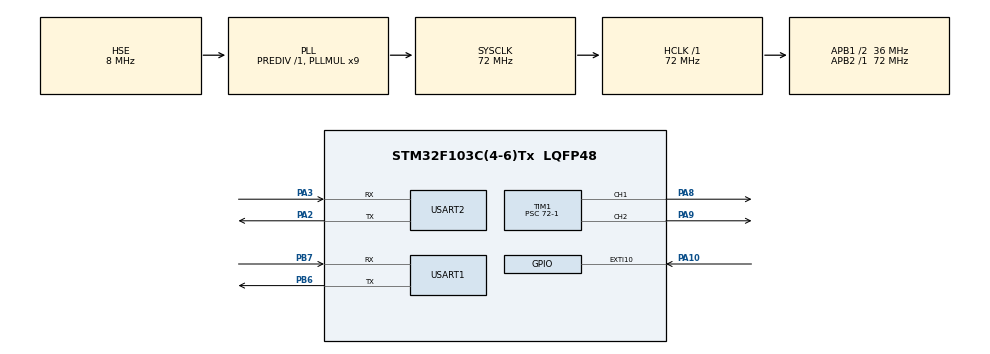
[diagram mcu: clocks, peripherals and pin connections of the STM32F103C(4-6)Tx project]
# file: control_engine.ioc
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Mcu.Family=STM32F1
Mcu.Name=STM32F103C(4-6)Tx
Mcu.Package=LQFP48
NVIC.EXTI15_10_IRQn=true\:0\:0\:false\:false\:true\:true\:true
NVIC.PriorityGroup=NVIC_PRIORITYGROUP_4
NVIC.USART1_IRQn=true\:0\:0\:false\:false\:true\:true\:true
PA10.GPIO_ModeDefaultEXTI=GPIO_MODE_IT_FALLING
PA10.GPIO_PuPd=GPIO_PULLUP
PA10.Signal=GPXTI10
PA2.Mode=Asynchronous
PA2.Signal=USART2_TX
PA3.Mode=Asynchronous
PA3.Signal=USART2_RX
PA8.Signal=S_TIM1_CH1
PA9.Signal=S_TIM1_CH2
PB6.Mode=Asynchronous
PB6.Signal=USART1_TX
PB7.Mode=Asynchronous
PB7.Signal=USART1_RX
PD0-OSC_IN.Mode=HSE-External-Oscillator
PD0-OSC_IN.Signal=RCC_OSC_IN
PD1-OSC_OUT.Mode=HSE-External-Oscillator
PD1-OSC_OUT.Signal=RCC_OSC_OUT
ProjectManager.HeapSize=0x200
ProjectManager.StackSize=0x400
ProjectManager.TargetToolchain=MDK-ARM V5.27
RCC.AHBFreq_Value=72000000
RCC.APB1CLKDivider=RCC_HCLK_DIV2
RCC.APB1Freq_Value=36000000
RCC.APB1TimFreq_Value=72000000
RCC.APB2Freq_Value=72000000
RCC.APB2TimFreq_Value=72000000
RCC.HCLKFreq_Value=72000000
RCC.PLLMUL=RCC_PLL_MUL9
RCC.PLLSourceVirtual=RCC_PLLSOURCE_HSE
RCC.SYSCLKFreq_VALUE=72000000
RCC.SYSCLKSource=RCC_SYSCLKSOURCE_PLLCLK
RCC.USBFreq_Value=72000000
SH.S_TIM1_CH1.0=TIM1_CH1,PWM Generation1 CH1
SH.S_TIM1_CH2.0=TIM1_CH2,PWM Generation2 CH2
TIM1.AutoReloadPreload=TIM_AUTORELOAD_PRELOAD_ENABLE
TIM1.Channel-PWM\ Generation1\ CH1=TIM_CHANNEL_1
TIM1.Channel-PWM\ Generation2\ CH2=TIM_CHANNEL_2
TIM1.Period=20000-1
TIM1.Prescaler=72-1
TIM2.AutoReloadPreload=TIM_AUTORELOAD_PRELOAD_ENABLE
TIM2.Channel-Output\ Compare1\ No\ Output=TIM_CHANNEL_1
TIM2.Period=20000-1
TIM2.Prescaler=72-1
USART1.VirtualMode=VM_ASYNC
USART2.VirtualMode=VM_ASYNC
VP_SYS_VS_ND.Mode=No_Debug
VP_TIM1_VS_ClockSourceINT.Mode=Internal
VP_TIM2_VS_ClockSourceINT.Mode=Internal
VP_TIM2_VS_no_output1.Mode=Output Compare1 No Output
board=custom

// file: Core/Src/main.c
/* USER CODE BEGIN Header */
/**
  ******************************************************************************
  * @file           : main.c
  * @brief          : Main program body
  ******************************************************************************
  * @attention
  *
  * <h2><center>&copy; Copyright (c) 2021 STMicroelectronics.
  * All rights reserved.</center></h2>
  *
  * This software component is licensed by ST under BSD 3-Clause license,
  * the "License"; You may not use this file except in compliance with the
  * License. You may obtain a copy of the License at:
  *                        opensource.org/licenses/BSD-3-Clause
  *
  ******************************************************************************
  */
/* USER CODE END Header */
#include "main.h"
#include "tim.h"
#include "usart.h"
#include "gpio.h"

/* USER CODE BEGIN PTD */
const float PreCalcu_Data[] = {
 0.000,
0.035, 0.070, 0.104, 0.139, 0.172, 0.206, 0.239, 0.271, 0.302, 0.333,
0.363, 0.392, 0.420, 0.447, 0.474, 0.499, 0.524, 0.547, 0.570, 0.592,
0.613, 0.633, 0.652, 0.671, 0.689, 0.706, 0.722, 0.738, 0.753, 0.767,
0.781, 0.794, 0.806, 0.818, 0.830, 0.841, 0.851, 0.861, 0.871, 0.880,
0.889, 0.897, 0.905, 0.913, 0.920, 0.927, 0.934, 0.941, 0.947, 0.953,
0.958, 0.964, 0.969, 0.974, 0.978, 0.983, 0.987, 0.991, 0.995, 0.999,
1.002, 1.006, 1.009, 1.012, 1.015, 1.018, 1.020, 1.023, 1.025, 1.028,
1.030, 1.032, 1.034, 1.035, 1.037, 1.039, 1.040, 1.042, 1.043, 1.044,
1.045, 1.046, 1.047, 1.048, 1.049, 1.050, 1.051, 1.051, 1.052, 1.052,
1.053, 1.053, 1.054, 1.054, 1.054, 1.054, 1.054, 1.054, 1.054, 1.054
};
/* USER CODE END PTD */

/* USER CODE BEGIN PD */
#include "stdio.h"
/**
  * @brief  串口调试
  * @retval None
  */
#define DEBUG
#ifdef DEBUG
#define DBG(format, ...) fprintf(stdout, "[\tDBG](File:%s, Func:%s(), Line:%d): " \
                                , __FILE__, __FUNCTION__, __LINE__);             \
                         fprintf(stdout, format"\r\n", ##__VA_ARGS__)
#else
#define DBG(format, ...)  do {} while (0)
#endif

int fputc(int ch, FILE *f){
    uint8_t temp[1] = {ch};
    HAL_UART_Transmit(&huart1, temp, 1, 2);//huart1 根据配置修改
    return ch;
}
/* USER CODE END PD */

/* USER CODE BEGIN PV */
uint8_t UART1_RxBuffer;
uint8_t buffer1[8] = "\0";
uint16_t Real = 1500;
uint8_t mode = 0x01;
uint8_t key = 1;
uint8_t count;
/* USER CODE END PV */

void SystemClock_Config(void);

int main(void)
{

  /* MCU Configuration--------------------------------------------------------*/

  /* Reset of all peripherals, Initializes the Flash interface and the Systick. */
  HAL_Init();

  /* Configure the system clock */
  SystemClock_Config();

  /* Initialize all configured peripherals */
  MX_GPIO_Init();
  MX_TIM1_Init();
  MX_TIM2_Init();
  MX_USART1_UART_Init();
  MX_USART2_UART_Init();
  /* USER CODE BEGIN 2 */
  HAL_TIM_Base_Start_IT(&htim2);
  HAL_TIM_PWM_Start(&htim1, TIM_CHANNEL_1); //开启PWM
	HAL_TIM_PWM_Start(&htim1, TIM_CHANNEL_2);
  HAL_UART_Receive_IT(&huart1, (uint8_t*)&UART1_RxBuffer, 1);

  __HAL_TIM_SET_COMPARE(&htim1, TIM_CHANNEL_1, 1500);
  __HAL_TIM_SET_COMPARE(&htim1, TIM_CHANNEL_2, 1500);
  HAL_Delay(1000);
  //
  /* USER CODE END 2 */

  /* Infinite loop */
  /* USER CODE BEGIN WHILE */
  while (1)
  {

    if(key == 4)
      key = 0;
    mode = key;
    if(mode == 0x01){ //模式一
      __HAL_TIM_SET_COMPARE(&htim1, TIM_CHANNEL_1, Real);
      DBG("hello1");
    }

//    else if(mode == 0x02){  //模式三
//      DBG("hello2");
//      if(Real-1500 < 0)
//        __HAL_TIM_SET_COMPARE(&htim1, TIM_CHANNEL_1, 1500 - after_change_pulses);
//      if(Real-1500 > 0)
//        __HAL_TIM_SET_COMPARE(&htim1, TIM_CHANNEL_1, 1500 + after_change_pulses);
//    }

    else if(mode == 0x03) { //用预处理数据
      DBG("hello3");
      if(Real-1500 < 0){
        count = (int)(xita/jiange);
        __HAL_TIM_SET_COMPARE(&htim1, TIM_CHANNEL_1, 1500 - (PreCalcu_Data[count] / Pi * 2000 + chazhi));
      }
      if(Real-1500 > 0){
        count = (int)(xita/jiange);
        __HAL_TIM_SET_COMPARE(&htim1, TIM_CHANNEL_1, 1500 + (PreCalcu_Data[count] / Pi * 2000 + chazhi));
      }
    }

//    else if(mode == 0x04)  //提高部分
//       __HAL_TIM_SET_COMPARE(&htim1, TIM_CHANNEL_1, after_change_pulses + 1500);
    /* USER CODE END WHILE */

  }
}

void SystemClock_Config(void)
{
  RCC_OscInitTypeDef RCC_OscInitStruct = {0};
  RCC_ClkInitTypeDef RCC_ClkInitStruct = {0};

  /** Initializes the RCC Oscillators according to the specified parameters
  * in the RCC_OscInitTypeDef structure.
  */
  RCC_OscInitStruct.OscillatorType = RCC_OSCILLATORTYPE_HSE;
  RCC_OscInitStruct.HSEState = RCC_HSE_ON;
  RCC_OscInitStruct.HSEPredivValue = RCC_HSE_PREDIV_DIV1;
  RCC_OscInitStruct.HSIState = RCC_HSI_ON;
  RCC_OscInitStruct.PLL.PLLState = RCC_PLL_ON;
  RCC_OscInitStruct.PLL.PLLSource = RCC_PLLSOURCE_HSE;
  RCC_OscInitStruct.PLL.PLLMUL = RCC_PLL_MUL9;
  if (HAL_RCC_OscConfig(&RCC_OscInitStruct) != HAL_OK)
  {
    Error_Handler();
  }
  /** Initializes the CPU, AHB and APB buses clocks
  */
  RCC_ClkInitStruct.ClockType = RCC_CLOCKTYPE_HCLK|RCC_CLOCKTYPE_SYSCLK
                              |RCC_CLOCKTYPE_PCLK1|RCC_CLOCKTYPE_PCLK2;
  RCC_ClkInitStruct.SYSCLKSource = RCC_SYSCLKSOURCE_PLLCLK;
  RCC_ClkInitStruct.AHBCLKDivider = RCC_SYSCLK_DIV1;
  RCC_ClkInitStruct.APB1CLKDivider = RCC_HCLK_DIV2;
  RCC_ClkInitStruct.APB2CLKDivider = RCC_HCLK_DIV1;

  if (HAL_RCC_ClockConfig(&RCC_ClkInitStruct, FLASH_LATENCY_2) != HAL_OK)
  {
    Error_Handler();
  }
}

/* USER CODE BEGIN 4 */
void HAL_UART_RxCpltCallback(UART_HandleTypeDef *huart)
{

  static uint8_t count = 0;
  if(huart -> Instance == USART1)
  {
    if((count == 0) && (UART1_RxBuffer == 0xff))
    {
      count++;
      buffer1[0] = UART1_RxBuffer;
    }
    else if((count == 1) && (UART1_RxBuffer < 0xff))
    {
      buffer1[1] = UART1_RxBuffer;
      count++;
    }
    else if((count == 2) && (UART1_RxBuffer <= 0xff))
    {
      buffer1[2] = UART1_RxBuffer;
      count++;
    }
    else if((count == 3) && (UART1_RxBuffer == 0xfe))
    {
      count = 0;
      buffer1[3] = UART1_RxBuffer;
      Real = (buffer1[1] << 8) | buffer1[2];
      //DBG("hello!\r\n");
    }
    else
       count = 0;
    HAL_UART_Receive_IT(&huart1, &UART1_RxBuffer, 1);
  }
}

/**
  * @brief  GPIO外部中断
  * @param  GPIO_Pin
  * @retval None
  * @claim  按键外部中断程序
  */
void HAL_GPIO_EXTI_Callback(uint16_t GPIO_Pin) {
  if(GPIO_Pin == GPIO_PIN_10) {
    key++;
    while(!HAL_GPIO_ReadPin(GPIOA, GPIO_PIN_10));
  }
}
/* USER CODE END 4 */

void Error_Handler(void)
{
}

/************************ (C) COPYRIGHT STMicroelectronics *****END OF FILE****/
